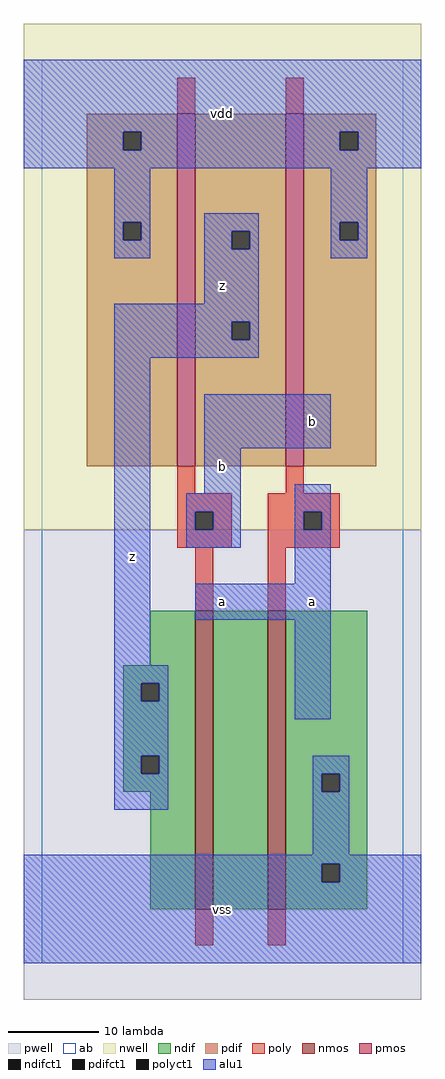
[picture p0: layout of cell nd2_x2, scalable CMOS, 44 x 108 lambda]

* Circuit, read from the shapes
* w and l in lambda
.subckt nd2_x2 a b vdd vss z
M1 n1 b z VSUBS nfet w=33 l=2
M2 vss a n1 VSUBS nfet w=33 l=2
M3 z b vdd n2 pfet w=39 l=2
M4 vdd a z n2 pfet w=39 l=2
.ends

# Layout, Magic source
magic
tech scmos
<< ab >>
rect 0 0 40 100
<< nwell >>
rect -2 48 42 104
<< pwell >>
rect -2 -4 42 48
<< poly >>
rect 15 94 17 98
rect 27 94 29 98
rect 15 52 17 55
rect 27 52 29 55
rect 15 50 21 52
rect 15 48 17 50
rect 19 48 21 50
rect 15 46 21 48
rect 25 50 33 52
rect 25 48 29 50
rect 31 48 33 50
rect 25 46 33 48
rect 17 39 19 46
rect 25 39 27 46
rect 17 2 19 6
rect 25 2 27 6
<< ndif >>
rect 12 33 17 39
rect 9 31 17 33
rect 9 29 11 31
rect 13 29 17 31
rect 9 23 17 29
rect 9 21 11 23
rect 13 21 17 23
rect 9 19 17 21
rect 12 6 17 19
rect 19 6 25 39
rect 27 21 36 39
rect 27 19 31 21
rect 33 19 36 21
rect 27 11 36 19
rect 27 9 31 11
rect 33 9 36 11
rect 27 6 36 9
<< pdif >>
rect 5 92 15 94
rect 5 90 9 92
rect 11 90 15 92
rect 5 82 15 90
rect 5 80 9 82
rect 11 80 15 82
rect 5 55 15 80
rect 17 81 27 94
rect 17 79 21 81
rect 23 79 27 81
rect 17 71 27 79
rect 17 69 21 71
rect 23 69 27 71
rect 17 55 27 69
rect 29 92 37 94
rect 29 90 33 92
rect 35 90 37 92
rect 29 82 37 90
rect 29 80 33 82
rect 35 80 37 82
rect 29 55 37 80
<< alu1 >>
rect -2 92 42 100
rect -2 90 9 92
rect 11 90 33 92
rect 35 90 42 92
rect -2 88 42 90
rect 8 82 12 88
rect 8 80 9 82
rect 11 80 12 82
rect 8 78 12 80
rect 18 81 24 83
rect 18 79 21 81
rect 23 79 24 81
rect 18 73 24 79
rect 32 82 36 88
rect 32 80 33 82
rect 35 80 36 82
rect 32 78 36 80
rect 8 71 24 73
rect 8 69 21 71
rect 23 69 24 71
rect 8 67 24 69
rect 8 33 12 67
rect 18 57 32 63
rect 18 52 22 57
rect 16 50 22 52
rect 16 48 17 50
rect 19 48 22 50
rect 16 46 22 48
rect 28 50 32 53
rect 28 48 29 50
rect 31 48 32 50
rect 28 42 32 48
rect 17 38 32 42
rect 8 31 14 33
rect 8 29 11 31
rect 13 29 14 31
rect 8 23 14 29
rect 28 27 32 38
rect 8 21 11 23
rect 13 21 14 23
rect 8 17 14 21
rect 30 21 34 23
rect 30 19 31 21
rect 33 19 34 21
rect 30 12 34 19
rect -2 11 42 12
rect -2 9 31 11
rect 33 9 42 11
rect -2 0 42 9
<< nmos >>
rect 17 6 19 39
rect 25 6 27 39
<< pmos >>
rect 15 55 17 94
rect 27 55 29 94
<< polyct1 >>
rect 17 48 19 50
rect 29 48 31 50
<< ndifct1 >>
rect 11 29 13 31
rect 11 21 13 23
rect 31 19 33 21
rect 31 9 33 11
<< pdifct1 >>
rect 9 90 11 92
rect 9 80 11 82
rect 21 79 23 81
rect 21 69 23 71
rect 33 90 35 92
rect 33 80 35 82
<< labels >>
rlabel alu1 10 45 10 45 6 z
rlabel alu1 20 6 20 6 6 vss
rlabel alu1 20 40 20 40 6 a
rlabel alu1 20 55 20 55 6 b
rlabel alu1 20 75 20 75 6 z
rlabel alu1 20 94 20 94 6 vdd
rlabel alu1 30 40 30 40 6 a
rlabel alu1 30 60 30 60 6 b
<< end >>
